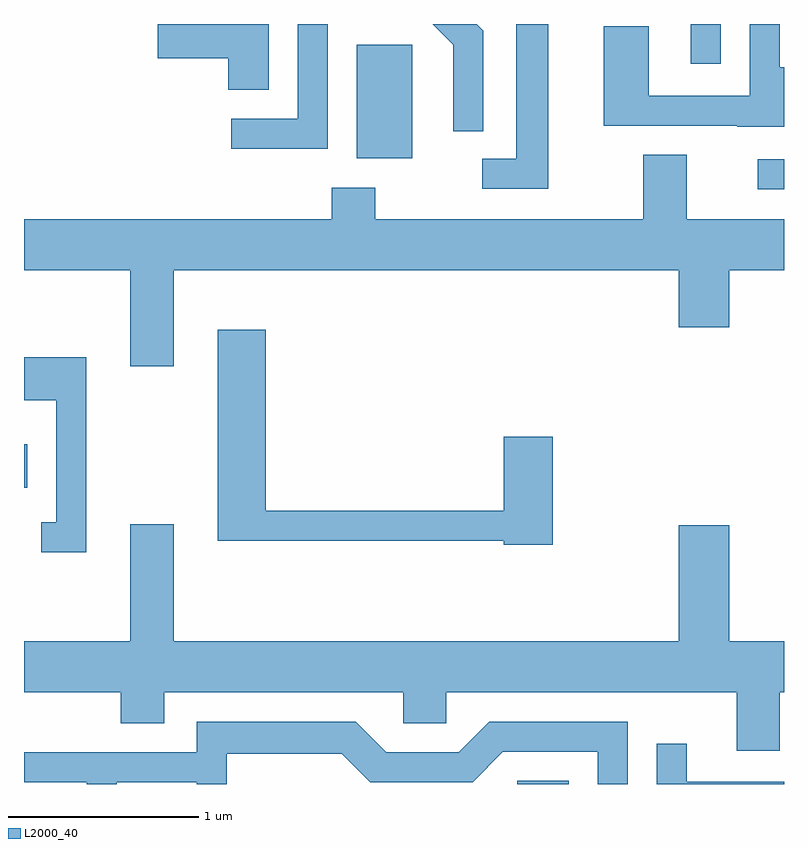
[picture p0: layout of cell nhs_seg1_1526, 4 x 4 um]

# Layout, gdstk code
import gdstk
lib = gdstk.Library(unit=1e-6, precision=1e-09)
def R(c, l, rs):  # rectangles x0, y0, x1, y1
    for r in rs: c.add(gdstk.rectangle(r[:2], r[2:], *l))
def P(c, l, *ps):  # polygons
    for p in ps: c.add(gdstk.Polygon(p, *l))
L2000_40 = (2000, 40)

nhs_seg1_1526 = lib.new_cell('nhs_seg1_1526')
R(nhs_seg1_1526, L2000_40, [(234.208,945.712,234.479,945.729), (231.611,947.271,231.629,947.499), (235.473,948.841,235.611,948.999), (233.361,949.006,233.654,949.604), (235.121,949.503,235.279,949.712)])
P(nhs_seg1_1526, L2000_40, [(235.611,949.484),(235.589,949.484),(235.589,949.712),(235.431,949.712),(235.431,949.334),(234.899,949.334),(234.899,949.699),(234.661,949.699),(234.661,949.176),(235.365,949.176),(235.365,949.171),(235.611,949.171)],
  [(232.899,949.712),(232.316,949.712),(232.316,949.531),(232.686,949.531),(232.686,949.366),(232.899,949.366)],
  [(233.209,949.712),(233.051,949.712),(233.051,949.214),(232.703,949.214),(232.703,949.056),(233.209,949.056)],
  [(234.029,949.677),(233.994,949.712),(233.763,949.712),(233.871,949.604),(233.871,949.148),(234.029,949.148)],
  [(234.369,949.712),(234.201,949.712),(234.201,949.004),(234.023,949.004),(234.023,948.846),(234.369,948.846)],
  [(232.399,948.416),(235.056,948.416),(235.056,948.116),(235.324,948.116),(235.324,948.416),(235.611,948.416),(235.611,948.684),(235.099,948.684),(235.099,949.024),(234.871,949.024),(234.871,948.684),(233.459,948.684),(233.459,948.849),(233.231,948.849),(233.231,948.684),(231.611,948.684),(231.611,948.416),(232.171,948.416),(232.171,947.911),(232.399,947.911)],
  [(234.394,947.539),(234.136,947.539),(234.136,947.149),(232.884,947.149),(232.884,948.104),(232.631,948.104),(232.631,946.991),(234.136,946.991),(234.136,946.971),(234.394,946.971)],
  [(231.939,947.959),(231.611,947.959),(231.611,947.731),(231.781,947.731),(231.781,947.089),(231.703,947.089),(231.703,946.931),(231.939,946.931)],
  [(235.589,946.196),(235.611,946.196),(235.611,946.464),(235.324,946.464),(235.324,947.074),(235.056,947.074),(235.056,946.464),(232.399,946.464),(232.399,947.079),(232.171,947.079),(232.171,946.464),(231.611,946.464),(231.611,946.196),(232.121,946.196),(232.121,946.031),(232.349,946.031),(232.349,946.196),(233.606,946.196),(233.606,946.031),(233.834,946.031),(233.834,946.196),(235.361,946.196),(235.361,945.886),(235.589,945.886)],
  [(232.099,945.721),(232.521,945.721),(232.521,945.712),(232.679,945.712),(232.679,945.871),(233.284,945.871),(233.434,945.721),(233.972,945.721),(234.132,945.881),(234.631,945.881),(234.631,945.712),(234.789,945.712),(234.789,946.039),(234.059,946.039),(233.899,945.879),(233.517,945.879),(233.357,946.039),(232.521,946.039),(232.521,945.879),(231.611,945.879),(231.611,945.721),(231.941,945.721),(231.941,945.712),(232.099,945.712)],
  [(235.611,945.724),(235.099,945.724),(235.099,945.923),(234.941,945.923),(234.941,945.712),(235.611,945.712)])

lib.write_gds('nhs_seg1_1526.gds')
